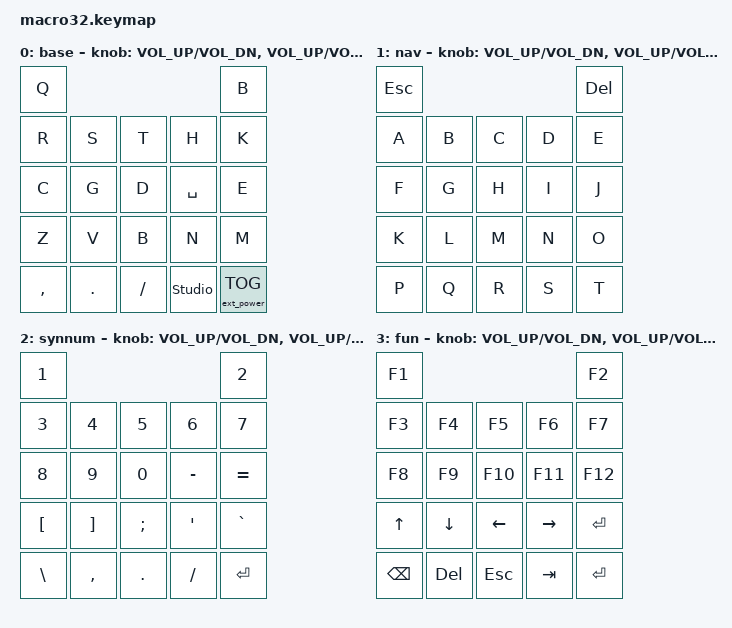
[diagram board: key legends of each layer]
/*
 * Copyright (c) 2020 The ZMK Contributors
 *
 * SPDX-License-Identifier: MIT
 */

#include <behaviors.dtsi>
#include <dt-bindings/zmk/keys.h>

/ {
    keymap {
        compatible = "zmk,keymap";

        base {
            bindings = <
&kp Q             &kp B
&kp R             &kp S             &kp T             &kp H             &kp K
&kp C             &kp G             &kp D             &kp SPACE         &kp E
&kp Z             &kp V             &kp B             &kp N             &kp M
&kp COMMA         &kp PERIOD        &kp SLASH         &studio_unlock         &ext_power EP_TOG
            >;

            sensor-bindings = <&inc_dec_kp C_VOL_UP C_VOL_DN &inc_dec_kp C_VOL_UP C_VOL_DN>;
        };

        nav {
            bindings = <
&kp ESCAPE        &kp DELETE
&kp A             &kp B             &kp C             &kp D             &kp E
&kp F             &kp G             &kp H             &kp I             &kp J
&kp K             &kp L             &kp M             &kp N             &kp O
&kp P             &kp Q             &kp R             &kp S             &kp T
            >;

            sensor-bindings = <&inc_dec_kp C_VOL_UP C_VOL_DN &inc_dec_kp C_VOL_UP C_VOL_DN>;
        };

        synnum {
            bindings = <
&kp N1            &kp N2
&kp N3            &kp N4            &kp N5            &kp N6            &kp N7
&kp N8            &kp N9            &kp N0            &kp MINUS         &kp EQUAL
&kp LBKT          &kp RBKT          &kp SEMICOLON     &kp APOSTROPHE    &kp GRAVE
&kp BACKSLASH     &kp COMMA         &kp DOT           &kp SLASH         &kp ENTER
            >;

            sensor-bindings = <&inc_dec_kp C_VOL_UP C_VOL_DN &inc_dec_kp C_VOL_UP C_VOL_DN>;
        };

        fun {
            bindings = <
&kp F1            &kp F2
&kp F3            &kp F4            &kp F5            &kp F6            &kp F7
&kp F8            &kp F9            &kp F10           &kp F11           &kp F12
&kp UP            &kp DOWN          &kp LEFT          &kp RIGHT         &kp ENTER
&kp BACKSPACE     &kp DELETE        &kp ESCAPE        &kp TAB           &kp ENTER
            >;

            sensor-bindings = <&inc_dec_kp C_VOL_UP C_VOL_DN &inc_dec_kp C_VOL_UP C_VOL_DN>;
        };
    };
};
